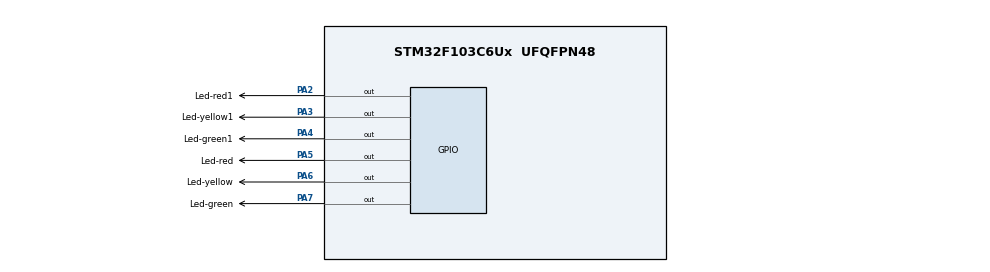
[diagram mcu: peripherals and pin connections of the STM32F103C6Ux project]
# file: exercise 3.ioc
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Mcu.Family=STM32F1
Mcu.Name=STM32F103C6Ux
Mcu.Package=UFQFPN48
NVIC.PriorityGroup=NVIC_PRIORITYGROUP_4
PA2.GPIO_Label=Led-red1
PA2.Signal=GPIO_Output
PA3.GPIO_Label=Led-yellow1
PA3.Signal=GPIO_Output
PA4.GPIO_Label=Led-green1
PA4.Signal=GPIO_Output
PA5.GPIO_Label=Led-red
PA5.Signal=GPIO_Output
PA6.GPIO_Label=Led-yellow
PA6.Signal=GPIO_Output
PA7.GPIO_Label=Led-green
PA7.Signal=GPIO_Output
ProjectManager.HeapSize=0x200
ProjectManager.StackSize=0x400
ProjectManager.TargetToolchain=STM32CubeIDE
RCC.APB1Freq_Value=8000000
RCC.APB2Freq_Value=8000000
VP_SYS_VS_ND.Mode=No_Debug
board=custom

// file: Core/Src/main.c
/* USER CODE BEGIN Header */
/**
  ******************************************************************************
  * @file           : main.c
  * @brief          : Main program body
  ******************************************************************************
  * @attention
  *
  * <h2><center>&copy; Copyright (c) 2024 STMicroelectronics.
  * All rights reserved.</center></h2>
  *
  * This software component is licensed by ST under BSD 3-Clause license,
  * the "License"; You may not use this file except in compliance with the
  * License. You may obtain a copy of the License at:
  *                        opensource.org/licenses/BSD-3-Clause
  *
  ******************************************************************************
  */
/* USER CODE END Header */
#include "main.h"

void SystemClock_Config(void);
static void MX_GPIO_Init(void);

int main(void)
{

  /* MCU Configuration--------------------------------------------------------*/

  /* Reset of all peripherals, Initializes the Flash interface and the Systick. */
  HAL_Init();

  /* Configure the system clock */
  SystemClock_Config();

  /* Initialize all configured peripherals */
  MX_GPIO_Init();

  /* Infinite loop */
  /* USER CODE BEGIN WHILE */
  int counter=10;
  while (1)
  {
	  if(counter<=10&&counter>7){
	 	  		 HAL_GPIO_WritePin(Led_red1_GPIO_Port,Led_red1_Pin,SET);//red1-on
	 	  		 HAL_GPIO_WritePin(Led_yellow1_GPIO_Port,Led_yellow1_Pin,RESET);
	 	  		 HAL_GPIO_WritePin(Led_green1_GPIO_Port,Led_green1_Pin,RESET);
	 	  		 HAL_GPIO_WritePin(Led_red_GPIO_Port,Led_red_Pin,RESET);
	 	  		 HAL_GPIO_WritePin(Led_yellow_GPIO_Port,Led_yellow_Pin,RESET);
	 	  		 HAL_GPIO_WritePin(Led_green_GPIO_Port,Led_green_Pin,SET);// green_on
	 	  	 }
	 	  	 if(counter<=7&&counter>5){
	 	  	 		 HAL_GPIO_WritePin(Led_red1_GPIO_Port,Led_red1_Pin,SET);// red1_on
	 	  	 		 HAL_GPIO_WritePin(Led_yellow1_GPIO_Port,Led_yellow1_Pin,RESET);
	 	  	 		 HAL_GPIO_WritePin(Led_green1_GPIO_Port,Led_green1_Pin,RESET);
	 	  	 		 HAL_GPIO_WritePin(Led_red_GPIO_Port,Led_red_Pin,RESET);
	 	  	 		 HAL_GPIO_WritePin(Led_yellow_GPIO_Port,Led_yellow_Pin,SET);// yellow_on
	 	  	 		 HAL_GPIO_WritePin(Led_green_GPIO_Port,Led_green_Pin,RESET);
	 	  	 }
	 	  	if(counter<=5&&counter>3){
	 	  		  	 HAL_GPIO_WritePin(Led_red1_GPIO_Port,Led_red1_Pin,RESET);
	 	  		  	 HAL_GPIO_WritePin(Led_yellow1_GPIO_Port,Led_yellow1_Pin,RESET);
	 	  		  	 HAL_GPIO_WritePin(Led_green1_GPIO_Port,Led_green1_Pin,SET);// green1_on
	 	  		     HAL_GPIO_WritePin(Led_red_GPIO_Port,Led_red_Pin,SET);//red-on
	 	  		  	 HAL_GPIO_WritePin(Led_yellow_GPIO_Port,Led_yellow_Pin,RESET);
	 	  		     HAL_GPIO_WritePin(Led_green_GPIO_Port,Led_green_Pin,RESET);
	 	  	}
	 	  	 if(counter<=3&&counter>0){
	 	  		  	 HAL_GPIO_WritePin(Led_red1_GPIO_Port,Led_red1_Pin,RESET);
	 	  		  	 HAL_GPIO_WritePin(Led_yellow1_GPIO_Port,Led_yellow1_Pin,SET);// yellow1_on
	 	  		  	 HAL_GPIO_WritePin(Led_green1_GPIO_Port,Led_green1_Pin,RESET);
	 	  		  	 HAL_GPIO_WritePin(Led_red_GPIO_Port,Led_red_Pin,SET);//red-on
	 	  		  	 HAL_GPIO_WritePin(Led_yellow_GPIO_Port,Led_yellow_Pin,RESET);
	 	  		  	 HAL_GPIO_WritePin(Led_green_GPIO_Port,Led_green_Pin,RESET);
	 	  	 }
	 	  	 if(counter>=0){
	 	  		 counter--;
	 	  		 HAL_Delay(1000);
	 	  		 if(counter<=0){
	 	  			 counter=10;
	 	  		 }
	 	  	 }
    /* USER CODE END WHILE */

  }
}

void SystemClock_Config(void)
{
  RCC_OscInitTypeDef RCC_OscInitStruct = {0};
  RCC_ClkInitTypeDef RCC_ClkInitStruct = {0};

  /** Initializes the RCC Oscillators according to the specified parameters
  * in the RCC_OscInitTypeDef structure.
  */
  RCC_OscInitStruct.OscillatorType = RCC_OSCILLATORTYPE_HSI;
  RCC_OscInitStruct.HSIState = RCC_HSI_ON;
  RCC_OscInitStruct.HSICalibrationValue = RCC_HSICALIBRATION_DEFAULT;
  RCC_OscInitStruct.PLL.PLLState = RCC_PLL_NONE;
  if (HAL_RCC_OscConfig(&RCC_OscInitStruct) != HAL_OK)
  {
    Error_Handler();
  }
  /** Initializes the CPU, AHB and APB buses clocks
  */
  RCC_ClkInitStruct.ClockType = RCC_CLOCKTYPE_HCLK|RCC_CLOCKTYPE_SYSCLK
                              |RCC_CLOCKTYPE_PCLK1|RCC_CLOCKTYPE_PCLK2;
  RCC_ClkInitStruct.SYSCLKSource = RCC_SYSCLKSOURCE_HSI;
  RCC_ClkInitStruct.AHBCLKDivider = RCC_SYSCLK_DIV1;
  RCC_ClkInitStruct.APB1CLKDivider = RCC_HCLK_DIV1;
  RCC_ClkInitStruct.APB2CLKDivider = RCC_HCLK_DIV1;

  if (HAL_RCC_ClockConfig(&RCC_ClkInitStruct, FLASH_LATENCY_0) != HAL_OK)
  {
    Error_Handler();
  }
}

static void MX_GPIO_Init(void)
{
  GPIO_InitTypeDef GPIO_InitStruct = {0};

  /* GPIO Ports Clock Enable */
  __HAL_RCC_GPIOA_CLK_ENABLE();

  /*Configure GPIO pin Output Level */
  HAL_GPIO_WritePin(GPIOA, Led_red1_Pin|Led_yellow1_Pin|Led_green1_Pin|Led_red_Pin
                          |Led_yellow_Pin|Led_green_Pin, GPIO_PIN_RESET);

  /*Configure GPIO pins : Led_red1_Pin Led_yellow1_Pin Led_green1_Pin Led_red_Pin
                           Led_yellow_Pin Led_green_Pin */
  GPIO_InitStruct.Pin = Led_red1_Pin|Led_yellow1_Pin|Led_green1_Pin|Led_red_Pin
                          |Led_yellow_Pin|Led_green_Pin;
  GPIO_InitStruct.Mode = GPIO_MODE_OUTPUT_PP;
  GPIO_InitStruct.Pull = GPIO_NOPULL;
  GPIO_InitStruct.Speed = GPIO_SPEED_FREQ_LOW;
  HAL_GPIO_Init(GPIOA, &GPIO_InitStruct);

}

void Error_Handler(void)
{
  __disable_irq();
  while (1)
  {
  }
}

/************************ (C) COPYRIGHT STMicroelectronics *****END OF FILE****/
